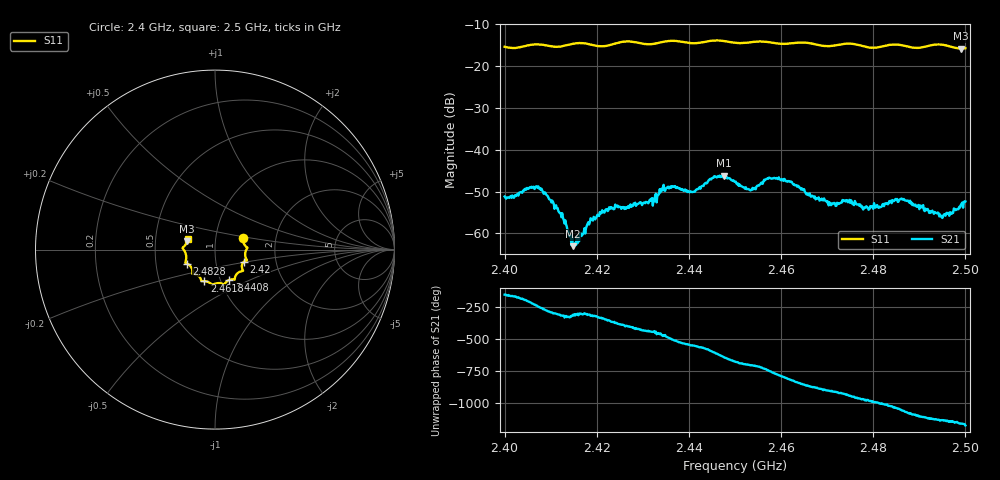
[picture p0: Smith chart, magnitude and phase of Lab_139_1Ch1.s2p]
# Hz S RI R 50
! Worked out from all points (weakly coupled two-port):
!   601 points, 2.4 GHz to 2.5 GHz, reference 50 ohm
!   highest |S21| = -46.17 dB at 2.4477 GHz (marker M1); lowest = -63.0 dB at 2.4148 GHz (marker M2)
!   lowest |S11| = -15.8 dB at 2.499 GHz (marker M3), VSWR 1.38, Z = 36.5 + j3.47 ohm
!   |S11| at or under -10 dB: start of sweep to end of sweep
!   S12 and S22 are empty: the file has one direction only
!   S11 on the Smith chart (normalised r, x): 2.4 GHz: 1.36, +0.18; 2.42 GHz: 1.36, -0.20; 2.4408 GHz: 1.10, -0.39; 2.4618 GHz: 0.84, -0.31; 2.4828 GHz: 0.72, -0.12; 2.5 GHz: 0.73, +0.09
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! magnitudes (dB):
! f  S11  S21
! 2.4 GHz  -15.4  -51.2
! 2.4075 GHz  -14.9  -49.3
! 2.412 GHz  -15.4  -55.1
! 2.4148 GHz  -14.7  -63.0
! 2.4167 GHz  -14.5  -60.6
! 2.42 GHz  -15.2  -55.9
! 2.4333 GHz  -14.5  -50.8
! 2.4365 GHz  -14.0  -48.8
! 2.4408 GHz  -14.6  -50.1
! 2.4477 GHz  -14.1  -46.2
! 2.45 GHz  -14.5  -47.7
! 2.4532 GHz  -14.4  -49.5
! 2.4572 GHz  -14.3  -47.0
! 2.4618 GHz  -14.6  -47.5
! 2.4667 GHz  -14.6  -51.0
! 2.4778 GHz  -15.3  -54.3
! 2.4828 GHz  -15.1  -52.8
! 2.4833 GHz  -15.0  -52.9
! 2.4865 GHz  -15.1  -51.8
! 2.4948 GHz  -14.9  -56.0
! 2.499 GHz  -15.8  -53.2
! 2.5 GHz  -15.7  -52.4
